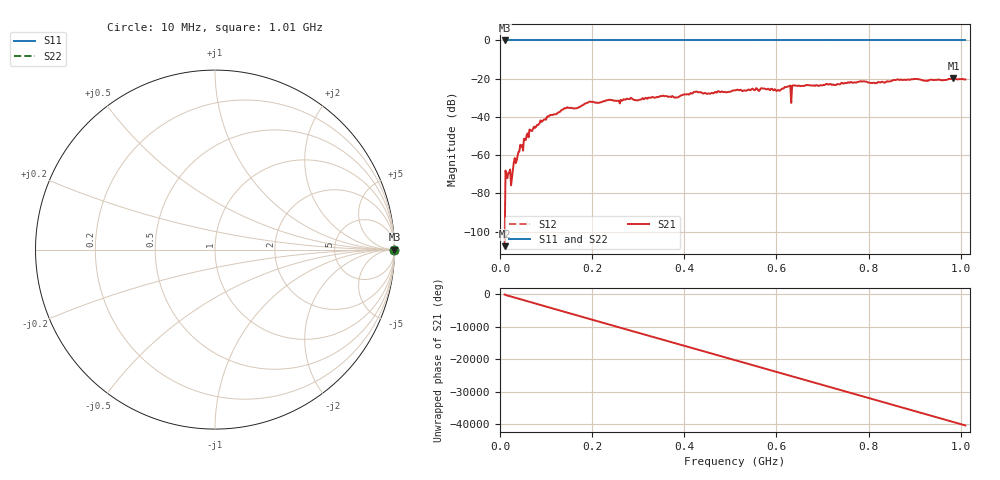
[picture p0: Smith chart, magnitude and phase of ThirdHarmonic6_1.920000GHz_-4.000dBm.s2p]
! 8/16/2025 11:08:59 PM
! C:\ANRITSUVNA\TEMP\TEMP.S2P
! CHANNEL.1
! TR.MEASUREMENT
! RAW.DATA
! RF.CORRECTION.OFF
! AVERAGING.OFF
! IF.BANDWIDTH: 5KHZ
! SWEEPTYPE:  FREQ.SWEEP(Linear)
! Reference Plane Port Info
! PORT:  PORT1  PORT2
! DISTANCE:  0  m  0  m
! TIME:  0  s  0  s
! PHASE.OFFSET:  0  deg.  0  deg.
! LOSS:  0  dB  0  dB
! REF.LOSS:  0  dB  0  dB
! REF.FREQ:  0  Hz  0  Hz
! Power Info
! POWER:  -20  dBm  -20  dBm
! EFF.POWER:  -20  dBm  -20  dBm
! SOURCE.ATTEN:  0  dB  0  dB
! TEST.ATTEN:  0  dB  0  dB
# GHZ S RI R 50.0
! FREQ.GHZ  S11RE  S11IM  S21RE  S21IM  S12RE  S12IM  S22RE  S22IM
!; PortSelection: Port_12
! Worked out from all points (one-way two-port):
!   501 points, 10 MHz to 1.01 GHz, reference 50 ohm
!   highest |S21| = -19.89 dB at 984 MHz (marker M1); lowest = -107.7 dB at 10 MHz (marker M2)
!   lowest |S11| = 0.0 dB at 10 MHz (marker M3)
!   |S11| at or under -10 dB: nowhere
!   |S22| runs from 0.0 to 0.0 dB; largest |S21 - S12| = 1.1
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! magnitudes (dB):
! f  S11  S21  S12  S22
! 10 MHz  0.0  -107.7  0.0  0.0
! 16 MHz  0.0  -72.1  0.0  0.0
! 24 MHz  0.0  -75.8  0.0  0.0
! 44 MHz  0.0  -54.6  0.0  0.0
! 68 MHz  0.0  -47.4  0.0  0.0
! 106 MHz  0.0  -39.8  0.0  0.0
! 142 MHz  0.0  -35.5  0.0  0.0
! 178 MHz  0.0  -34.0  0.0  0.0
! 198 MHz  0.0  -32.1  0.0  0.0
! 344 MHz  0.0  -29.7  0.0  0.0
! 382 MHz  0.0  -29.8  0.0  0.0
! 424 MHz  0.0  -26.9  0.0  0.0
! 510 MHz  0.0  -26.0  0.0  0.0
! 604 MHz  0.0  -25.9  0.0  0.0
! 626 MHz  0.0  -24.0  0.0  0.0
! 628 MHz  0.0  -23.8  0.0  0.0
! 636 MHz  0.0  -23.5  0.0  0.0
! 638 MHz  0.0  -23.6  0.0  0.0
! 678 MHz  0.0  -23.7  0.0  0.0
! 844 MHz  0.0  -21.5  0.0  0.0
! 984 MHz  0.0  -19.9  0.0  0.0
! 1.01 GHz  0.0  -20.4  0.0  0.0
